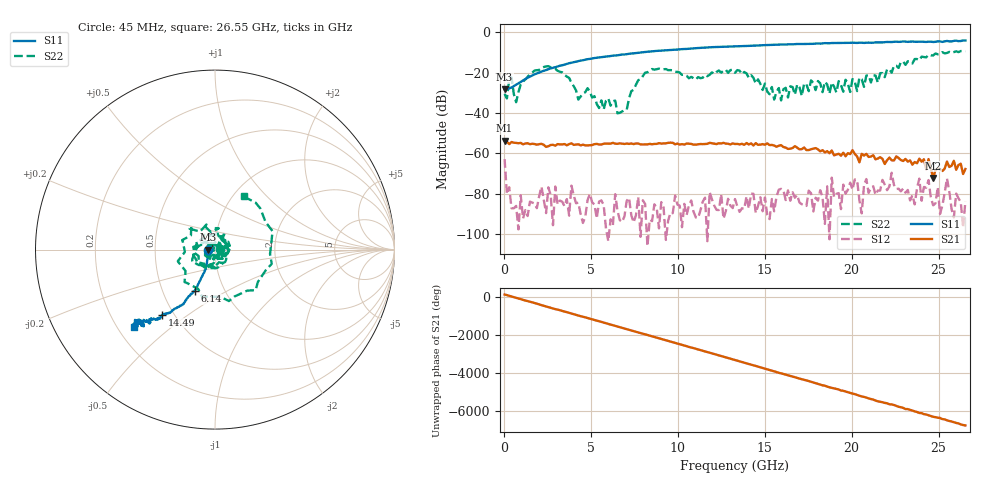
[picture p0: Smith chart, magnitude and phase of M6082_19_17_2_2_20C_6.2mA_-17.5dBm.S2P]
!  2-Port S-parameters saved by WinCal
! VAR MeasName=S-Parameters (CALIBRATED_DATA) read from VNA (C)
! VAR MeasDate=9/29/2015 4:40:08 PM
! VAR NAME=M6082_19_17_2_2_20C_6.2mA_-17.5dBm
! VAR FILENAME=M6082_19_17_2_2_20C_6.2mA_-17.5dBm.S2P
! VAR DATE=9/29/2015 4:40:08 PM
! VAR PHYS_PORTS=2,1
! VAR ObjTypeName=DATASET
! VAR IndexType=Frequency
# Hz S RI R 50
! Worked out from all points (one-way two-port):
!   201 points, 45 MHz to 26.55 GHz, reference 50 ohm
!   highest |S21| = -53.68 dB at 45 MHz (marker M1); lowest = -72.2 dB at 24.69 GHz (marker M2)
!   lowest |S11| = -28.3 dB at 45 MHz (marker M3), VSWR 1.08, Z = 46.3 + j0.00831 ohm
!   |S11| at or under -10 dB: start of sweep to 7.936 GHz
!   |S22| runs from -40.2 to -9.2 dB; largest |S21 - S12| = 0.002
!   S11 on the Smith chart (normalised r, x): 45 MHz: 0.93, +0.00; 6.14 GHz: 0.72, -0.36; 14.49 GHz: 0.43, -0.40; 26.55 GHz: 0.27, -0.38
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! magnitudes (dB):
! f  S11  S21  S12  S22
! 45 MHz  -28.3  -53.7  -62.8  -30.5
! 177.5 MHz  -28.1  -54.2  -80.1  -32.8
! 442.5 MHz  -27.4  -54.4  -87.2  -22.4
! 707.5 MHz  -26.0  -54.8  -86.0  -34.7
! 2.562 GHz  -18.3  -56.5  -76.8  -16.8
! 4.55 GHz  -13.9  -55.7  -94.5  -30.3
! 6.14 GHz  -11.8  -55.2  -92.7  -36.4
! 7.067 GHz  -10.9  -55.1  -83.5  -38.4
! 7.73 GHz  -10.2  -55.1  -81.5  -23.8
! 8.922 GHz  -9.2  -54.9  -97.1  -18.0
! 13.29 GHz  -7.0  -55.4  -82.6  -20.1
! 14.49 GHz  -6.6  -54.9  -89.5  -25.4
! 15.95 GHz  -6.1  -55.9  -77.5  -33.8
! 17.8 GHz  -5.8  -57.7  -88.8  -25.1
! 20.32 GHz  -5.3  -61.5  -73.3  -29.2
! 22.17 GHz  -4.9  -62.1  -76.4  -18.4
! 22.3 GHz  -4.9  -63.4  -69.6  -20.1
! 23.36 GHz  -4.7  -63.5  -83.3  -14.5
! 24.43 GHz  -4.7  -62.8  -73.2  -11.2
! 24.69 GHz  -4.9  -72.2  -85.7  -11.5
! 25.48 GHz  -4.3  -64.0  -72.4  -10.3
! 26.55 GHz  -4.1  -67.7  -83.7  -9.5
